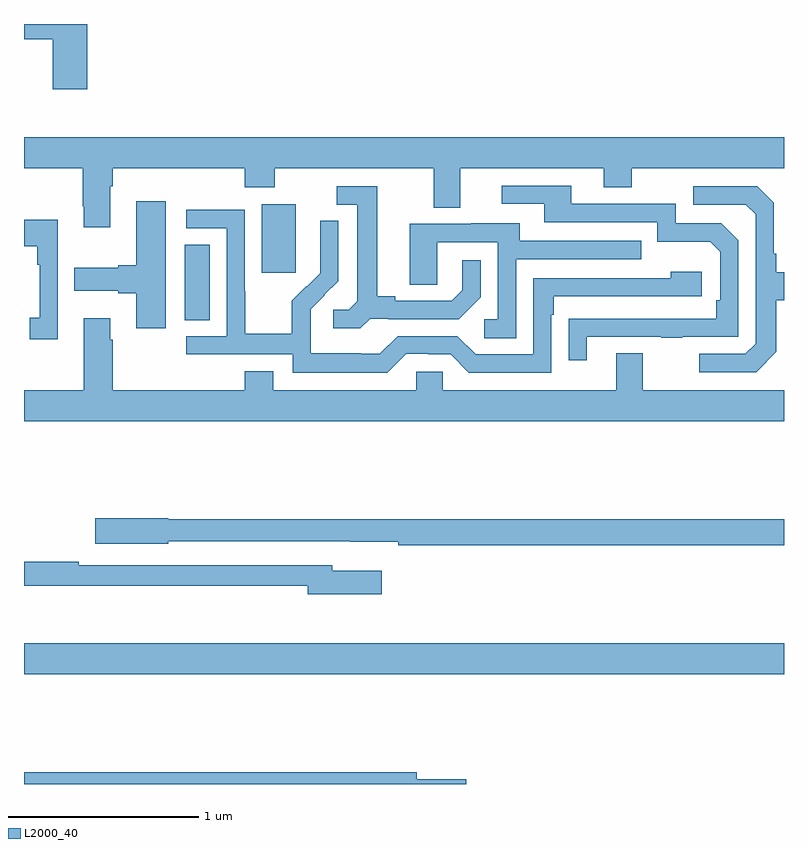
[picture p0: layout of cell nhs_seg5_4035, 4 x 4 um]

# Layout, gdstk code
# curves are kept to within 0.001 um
import gdstk
lib = gdstk.Library(unit=1e-6, precision=1e-09)
def R(c, l, rs):  # rectangles x0, y0, x1, y1
    for r in rs: c.add(gdstk.rectangle(r[:2], r[2:], *l))
def P(c, l, *ps):  # polygons
    for p in ps: c.add(gdstk.Polygon(p, *l))
L2000_40 = (2000, 40)

nhs_seg5_4035 = lib.new_cell('nhs_seg5_4035')
R(nhs_seg5_4035, L2000_40, [(347,907.376,351,907.54), (347.846,909.241,347.977,909.638), (348.251,909.489,348.43,909.85)])
P(nhs_seg5_4035, L2000_40, [(347.333,910.799),(347,910.799),(347,910.72),(347.15,910.72),(347.15,910.455),(347.333,910.455)],
  [(347.455,909.944),(347.468,909.944),(347.468,910.04),(348.161,910.04),(348.161,909.941),(348.321,909.941),(348.321,910.04),(349.157,910.04),(349.157,909.832),(349.297,909.832),(349.297,910.04),(350.051,910.04),(350.051,909.941),(350.199,909.941),(350.199,910.04),(351,910.04),(351,910.204),(347,910.204),(347,910.04),(347.308,910.04),(347.308,909.841),(347.315,909.841),(347.315,909.729),(347.455,909.729)],
  [(349.963,909.153),(350.353,909.153),(350.353,909.148),(350.465,909.148),(350.465,909.153),(350.76,909.153),(350.76,909.66),(350.67,909.75),(350.43,909.75),(350.43,909.852),(349.879,909.852),(349.879,909.948),(349.515,909.948),(349.515,909.852),(349.739,909.852),(349.739,909.756),(350.334,909.756),(350.334,909.653),(350.611,909.653),(350.664,909.6),(350.664,909.346),(350.644,909.346),(350.644,909.249),(349.867,909.248),(349.867,909.03),(349.963,909.03)],
  [(348.822,909.249),(348.916,909.249),(348.916,909.246),(349.288,909.246),(349.404,909.362),(349.404,909.556),(349.307,909.556),(349.307,909.399),(349.25,909.342),(348.955,909.342),(348.955,909.365),(348.859,909.365),(348.859,909.945),(348.645,909.945),(348.645,909.849),(348.755,909.849),(348.755,909.341),(348.708,909.294),(348.627,909.294),(348.627,909.197),(348.77,909.197)],
  [(350.959,909.073),(350.959,909.346),(351,909.346),(351,909.493),(350.959,909.493),(350.959,909.589),(350.946,909.589),(350.946,909.858),(350.859,909.945),(350.523,909.945),(350.523,909.849),(350.799,909.849),(350.85,909.798),(350.85,909.117),(350.796,909.063),(350.553,909.063),(350.553,908.967),(350.853,908.967)],
  [(347.746,909.865),(347.591,909.865),(347.591,909.53),(347.495,909.53),(347.495,909.517),(347.265,909.517),(347.265,909.395),(347.495,909.395),(347.495,909.383),(347.591,909.383),(347.591,909.198),(347.746,909.198)],
  [(349.011,909.063),(349.127,909.063),(349.127,909.06),(349.245,909.06),(349.341,908.964),(349.776,908.964),(349.776,909.269),(349.789,909.269),(349.789,909.366),(350.566,909.366),(350.566,909.496),(350.405,909.496),(350.405,909.462),(349.68,909.462),(349.68,909.06),(349.377,909.06),(349.281,909.156),(348.966,909.156),(348.873,909.063),(348.773,909.063),(348.773,909.067),(348.51,909.067),(348.51,909.201),(348.508,909.201),(348.508,909.298),(348.654,909.446),(348.654,909.764),(348.558,909.764),(348.558,909.61),(348.56,909.61),(348.56,909.488),(348.489,909.417),(348.486,909.42),(348.409,909.343),(348.409,909.169),(348.165,909.169),(348.165,909.392),(348.162,909.392),(348.162,909.822),(347.853,909.822),(347.853,909.723),(348.066,909.723),(348.066,909.156),(347.853,909.156),(347.853,909.06),(348.414,909.06),(348.414,908.963),(348.911,908.963)],
  [(347.178,909.769),(347,909.769),(347,909.629),(347.07,909.629),(347.07,909.533),(347.082,909.533),(347.082,909.254),(347.031,909.254),(347.031,909.141),(347.178,909.141)],
  [(349.59,909.561),(350.249,909.561),(350.249,909.657),(349.609,909.657),(349.609,909.751),(349.355,909.751),(349.355,909.747),(349.031,909.747),(349.031,909.427),(349.176,909.427),(349.176,909.651),(349.494,909.651),(349.494,909.246),(349.422,909.246),(349.422,909.145),(349.59,909.145)],
  [(351,908.872),(350.257,908.872),(350.257,909.067),(350.117,909.067),(350.117,908.872),(349.203,908.872),(349.203,908.97),(349.065,908.97),(349.065,908.872),(348.313,908.872),(348.313,908.971),(348.161,908.971),(348.161,908.872),(347.468,908.872),(347.468,909.137),(347.455,909.137),(347.455,909.25),(347.315,909.25),(347.315,908.872),(347,908.872),(347,908.708),(351,908.708)],
  [(351,908.192),(347.76,908.192),(347.76,908.198),(347.376,908.198),(347.376,908.063),(347.76,908.063),(347.76,908.076),(348.718,908.076),(348.718,908.075),(348.97,908.075),(348.97,908.056),(351,908.056)],
  [(348.883,907.921),(348.622,907.921),(348.622,907.95),(347.288,907.95),(347.288,907.97),(347,907.97),(347,907.842),(348.494,907.842),(348.494,907.799),(348.883,907.799)],
  [(349.327,906.824),(349.066,906.824),(349.066,906.86),(347,906.86),(347,906.799),(349.327,906.799)])

lib.write_gds('nhs_seg5_4035.gds')
